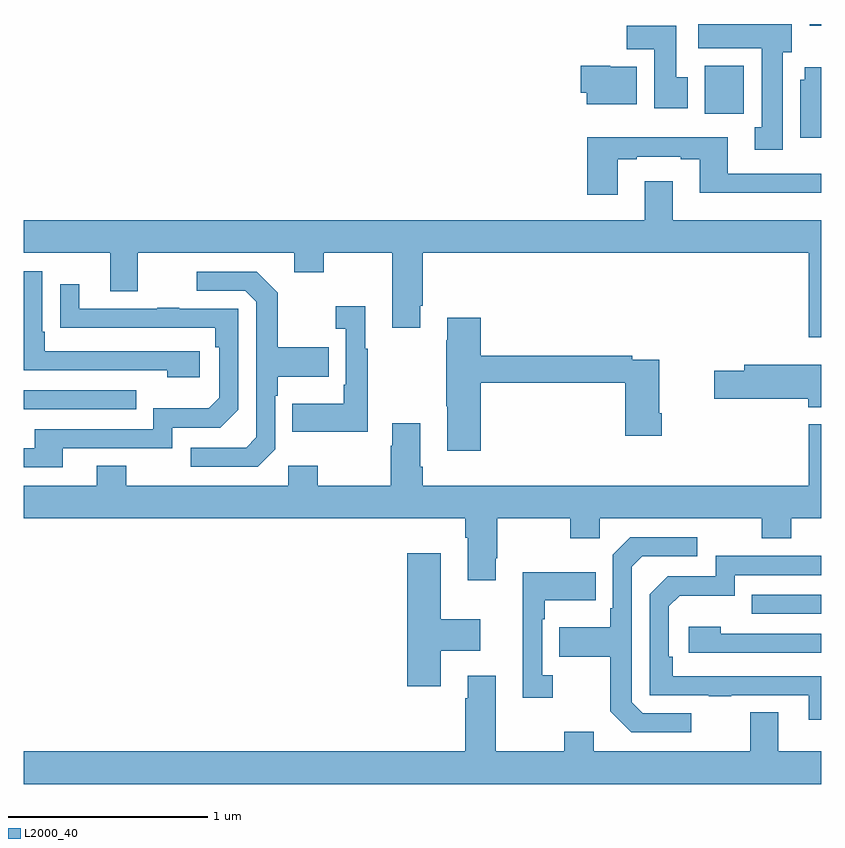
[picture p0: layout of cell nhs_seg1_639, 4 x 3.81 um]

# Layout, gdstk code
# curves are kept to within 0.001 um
import gdstk
lib = gdstk.Library(unit=1e-6, precision=1e-09)
def R(c, l, rs):  # rectangles x0, y0, x1, y1
    for r in rs: c.add(gdstk.rectangle(r[:2], r[2:], *l))
def P(c, l, *ps):  # polygons
    for p in ps: c.add(gdstk.Polygon(p, *l))
L2000_40 = (2000, 40)

nhs_seg1_639 = lib.new_cell('nhs_seg1_639')
R(nhs_seg1_639, L2000_40, [(148.651,563.241,149,563.337), (145,564.267,145.565,564.363), (148.415,565.748,148.612,565.99), (148.943,566.19,149,566.199)])
P(nhs_seg1_639, L2000_40, [(148.807,566.058),(148.852,566.058),(148.852,566.199),(148.383,566.199),(148.383,566.078),(148.7,566.078),(148.7,565.682),(148.667,565.682),(148.667,565.569),(148.807,565.569)],
  [(148.33,565.932),(148.273,565.932),(148.273,566.191),(148.024,566.191),(148.024,566.072),(148.163,566.072),(148.163,565.776),(148.33,565.776)],
  [(148.075,565.984),(147.942,565.984),(147.942,565.99),(147.794,565.99),(147.794,565.854),(147.824,565.854),(147.824,565.796),(148.075,565.796)],
  [(149,565.981),(148.916,565.981),(148.916,565.92),(148.895,565.92),(148.895,565.628),(149,565.628)],
  [(147.979,565.521),(148.075,565.521),(148.075,565.533),(148.295,565.533),(148.295,565.521),(148.391,565.521),(148.391,565.352),(149,565.352),(149,565.449),(148.531,565.449),(148.531,565.63),(147.827,565.63),(147.827,565.344),(147.979,565.344)],
  [(149,565.216),(148.255,565.216),(148.255,565.411),(148.115,565.411),(148.115,565.216),(145,565.216),(145,565.052),(145.433,565.052),(145.433,564.858),(145.573,564.858),(145.573,565.052),(146.357,565.052),(146.357,564.953),(146.505,564.953),(146.505,565.052),(146.849,565.052),(146.849,564.675),(146.989,564.675),(146.989,564.787),(147.002,564.787),(147.002,565.052),(148.937,565.052),(148.937,564.627),(149,564.627)],
  [(145.882,564.558),(145.105,564.558),(145.105,564.655),(145.092,564.655),(145.092,564.96),(145,564.96),(145,564.462),(145.721,564.462),(145.721,564.428),(145.882,564.428)],
  [(146.262,564.066),(146.262,564.335),(146.275,564.335),(146.275,564.431),(146.531,564.431),(146.531,564.579),(146.275,564.579),(146.275,564.851),(146.169,564.957),(145.869,564.957),(145.869,564.861),(146.112,564.861),(146.166,564.807),(146.166,564.126),(146.115,564.075),(145.839,564.075),(145.839,563.979),(146.175,563.979)],
  [(145.195,564.072),(145.746,564.072),(145.746,564.174),(145.986,564.174),(146.076,564.264),(146.076,564.771),(145.781,564.771),(145.781,564.776),(145.669,564.776),(145.669,564.771),(145.279,564.771),(145.279,564.895),(145.183,564.895),(145.183,564.676),(145.96,564.675),(145.96,564.578),(145.98,564.578),(145.98,564.324),(145.927,564.271),(145.65,564.271),(145.65,564.168),(145.055,564.168),(145.055,564.072),(145,564.072),(145,563.976),(145.195,563.976)],
  [(146.725,564.571),(146.713,564.571),(146.713,564.784),(146.565,564.784),(146.565,564.671),(146.616,564.671),(146.616,564.391),(146.604,564.391),(146.604,564.295),(146.347,564.295),(146.347,564.155),(146.725,564.155)],
  [(147.293,564.4),(148.016,564.4),(148.016,564.135),(148.199,564.135),(148.199,564.247),(148.186,564.247),(148.186,564.516),(148.052,564.516),(148.052,564.536),(147.293,564.536),(147.293,564.727),(147.125,564.727),(147.125,564.614),(147.118,564.614),(147.118,564.283),(147.125,564.283),(147.125,564.06),(147.293,564.06)],
  [(149,564.49),(148.938,564.49),(148.938,564.491),(148.613,564.491),(148.613,564.461),(148.464,564.461),(148.464,564.319),(148.934,564.319),(148.934,564.278),(149,564.278)],
  [(147.367,563.521),(147.375,563.521),(147.375,563.72),(147.742,563.72),(147.742,563.621),(147.888,563.621),(147.888,563.72),(148.702,563.72),(148.702,563.621),(148.849,563.621),(148.849,563.72),(149,563.72),(149,564.193),(148.937,564.193),(148.937,563.884),(147.002,563.884),(147.002,563.98),(146.989,563.98),(146.989,564.196),(146.849,564.196),(146.849,564.083),(146.842,564.083),(146.842,563.884),(146.475,563.884),(146.475,563.983),(146.328,563.983),(146.328,563.884),(145.515,563.884),(145.515,563.983),(145.367,563.983),(145.367,563.884),(145,563.884),(145,563.72),(147.215,563.72),(147.215,563.624),(147.227,563.624),(147.227,563.409),(147.367,563.409)],
  [(148.348,562.743),(148.104,562.743),(148.05,562.797),(148.05,563.478),(148.101,563.529),(148.378,563.529),(148.378,563.625),(148.041,563.625),(147.954,563.538),(147.954,563.269),(147.942,563.269),(147.942,563.173),(147.685,563.173),(147.685,563.026),(147.942,563.026),(147.942,562.753),(148.047,562.647),(148.348,562.647)],
  [(147.091,563.057),(147.289,563.057),(147.289,563.215),(147.091,563.215),(147.091,563.545),(146.924,563.545),(146.924,562.878),(147.091,562.878)],
  [(149,562.928),(148.256,562.929),(148.256,563.026),(148.236,563.026),(148.236,563.28),(148.289,563.333),(148.566,563.333),(148.566,563.436),(149,563.436),(149,563.532),(148.47,563.532),(148.47,563.43),(148.23,563.43),(148.14,563.34),(148.14,562.833),(148.435,562.833),(148.435,562.828),(148.547,562.828),(148.547,562.833),(148.937,562.833),(148.937,562.71),(149,562.71)],
  [(147.652,562.934),(147.6,562.934),(147.6,563.213),(147.613,563.213),(147.613,563.309),(147.869,563.309),(147.869,563.449),(147.503,563.449),(147.503,562.821),(147.652,562.821)],
  [(149,563.142),(148.496,563.142),(148.496,563.176),(148.335,563.176),(148.335,563.046),(149,563.046)],
  [(149,562.552),(148.783,562.552),(148.783,562.747),(148.643,562.747),(148.643,562.552),(147.859,562.552),(147.859,562.651),(147.712,562.651),(147.712,562.552),(147.367,562.552),(147.367,562.93),(147.227,562.93),(147.227,562.817),(147.215,562.817),(147.215,562.552),(145,562.552),(145,562.388),(149,562.388)])

lib.write_gds('nhs_seg1_639.gds')
